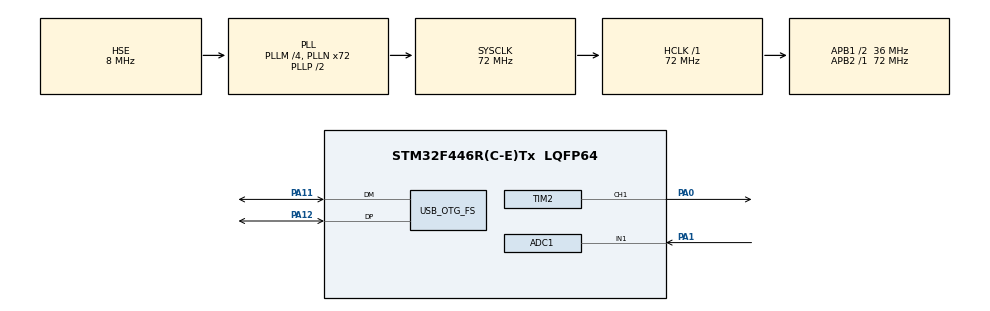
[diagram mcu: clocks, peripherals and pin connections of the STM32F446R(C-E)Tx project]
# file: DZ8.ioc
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ADC1.Channel-4\#ChannelRegularConversion=ADC_CHANNEL_1
ADC1.ExternalTrigConv=ADC_EXTERNALTRIGCONV_T1_CC1
ADC1.ExternalTrigConvEdge=ADC_EXTERNALTRIGCONVEDGE_RISING
ADC1.InjNumberOfConversion=0
ADC1.NbrOfConversion=1
ADC1.NbrOfConversionFlag=1
ADC1.Rank-4\#ChannelRegularConversion=1
ADC1.SamplingTime-4\#ChannelRegularConversion=ADC_SAMPLETIME_84CYCLES
ADC1.master=1
FATFS._USE_FASTSEEK=0
Mcu.Family=STM32F4
Mcu.Name=STM32F446R(C-E)Tx
Mcu.Package=LQFP64
NVIC.ADC_IRQn=true\:0\:0\:false\:false\:true\:true\:true\:true
NVIC.OTG_FS_IRQn=true\:0\:0\:false\:false\:true\:false\:true\:true
NVIC.PriorityGroup=NVIC_PRIORITYGROUP_4
NVIC.TIM2_IRQn=true\:0\:0\:false\:false\:true\:true\:true\:true
PA0-WKUP.Signal=S_TIM2_CH1_ETR
PA1.Signal=ADCx_IN1
PA11.Mode=Device_Only
PA11.Signal=USB_OTG_FS_DM
PA12.Mode=Device_Only
PA12.Signal=USB_OTG_FS_DP
PA13.Mode=Serial_Wire
PA13.Signal=SYS_JTMS-SWDIO
PA14.Mode=Serial_Wire
PA14.Signal=SYS_JTCK-SWCLK
PH0-OSC_IN.Mode=HSE-External-Clock-Source
PH0-OSC_IN.Signal=RCC_OSC_IN
PH1-OSC_OUT.Mode=HSE-External-Clock-Source
PH1-OSC_OUT.Signal=RCC_OSC_OUT
ProjectManager.HeapSize=0x200
ProjectManager.StackSize=0x400
ProjectManager.TargetToolchain=STM32CubeIDE
RCC.AHBFreq_Value=72000000
RCC.APB1CLKDivider=RCC_HCLK_DIV2
RCC.APB1Freq_Value=36000000
RCC.APB1TimFreq_Value=72000000
RCC.APB2Freq_Value=72000000
RCC.APB2TimFreq_Value=72000000
RCC.CortexFreq_Value=72000000
RCC.HCLKFreq_Value=72000000
RCC.HSE_VALUE=8000000
RCC.PLLM=4
RCC.PLLN=72
RCC.PLLQ=3
RCC.PLLR=4
RCC.SYSCLKFreq_VALUE=72000000
RCC.SYSCLKSource=RCC_SYSCLKSOURCE_PLLCLK
RCC.USBFreq_Value=48000000
RCC.VCOOutputFreq_Value=144000000
SH.ADCx_IN1.0=ADC1_IN1,IN1
SH.S_TIM2_CH1_ETR.0=TIM2_CH1,PWM Generation1 CH1
TIM1.AutoReloadPreload=TIM_AUTORELOAD_PRELOAD_DISABLE
TIM1.Channel-Output\ Compare1\ No\ Output=TIM_CHANNEL_1
TIM1.OCMode_1=TIM_OCMODE_TOGGLE
TIM1.Period=999
TIM1.Prescaler=7199
TIM1.Pulse-Output\ Compare1\ No\ Output=99
TIM2.Channel-PWM\ Generation1\ CH1=TIM_CHANNEL_1
TIM2.Period=720
TIM2.Prescaler=100
TIM2.Pulse-PWM\ Generation1\ CH1=360
USB_DEVICE.CLASS_NAME_FS=MSC
USB_DEVICE.MANUFACTURER_STRING-MSC_FS=Nikita Labs
USB_DEVICE.PID_MSC_FS=228
USB_DEVICE.PRODUCT_STRING_MSC_FS=LED on-off MSC
USB_DEVICE.VID-MSC_FS=1488
USB_DEVICE.VirtualMode-MSC_FS=Msc
USB_DEVICE.VirtualModeFS=Msc_FS
USB_OTG_FS.VirtualMode=Device_Only
VP_FATFS_VS_Generic.Mode=User_defined
VP_TIM1_VS_ClockSourceINT.Mode=Internal
VP_TIM1_VS_no_output1.Mode=Output Compare1 No Output
VP_USB_DEVICE_VS_USB_DEVICE_MSC_FS.Mode=MSC_FS
board=custom

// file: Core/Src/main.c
/* USER CODE BEGIN Header */
/**
  ******************************************************************************
  * @file           : main.c
  * @brief          : Main program body
  ******************************************************************************
  * @attention
  *
  * Copyright (c) 2026 STMicroelectronics.
  * All rights reserved.
  *
  * This software is licensed under terms that can be found in the LICENSE file
  * in the root directory of this software component.
  * If no LICENSE file comes with this software, it is provided AS-IS.
  *
  ******************************************************************************
  */
/* USER CODE END Header */
#include "main.h"
#include "fatfs.h"
#include "usb_device.h"

ADC_HandleTypeDef hadc1;

TIM_HandleTypeDef htim1;
TIM_HandleTypeDef htim2;

/* USER CODE BEGIN PV */
uint8_t ramdrive[BLOCKS][SSIZE];

FILINFO fileInfo;
FRESULT fr;

uint8_t CountOfConv = 0;
uint16_t val = 0;
float volts = 0;
uint8_t flagWrite = 0;
char str[64];
uint16_t lastTimeStamp = 65535;
uint16_t timeStamp = 0;
/* USER CODE END PV */

void SystemClock_Config(void);
static void MX_GPIO_Init(void);
static void MX_TIM2_Init(void);
static void MX_ADC1_Init(void);
static void MX_TIM1_Init(void);

int main(void)
{

  /* MCU Configuration--------------------------------------------------------*/

  /* Reset of all peripherals, Initializes the Flash interface and the Systick. */
  HAL_Init();

  /* Configure the system clock */
  SystemClock_Config();

  /* Initialize all configured peripherals */
  MX_GPIO_Init();

  MX_FATFS_Init();
  MX_TIM2_Init();
  MX_ADC1_Init();
  MX_TIM1_Init();
  /* USER CODE BEGIN 2 */
  uint8_t RD_R = ramdrive_init();
  if (!RD_R)
	  Error_Handler();

  fr = f_mount(&USERFatFS, USERPath, 1);
  if (fr != FR_OK)
	  Error_Handler();

  FIL myFile;
  if (fr == FR_OK)
	  f_open(&myFile, "result.csv", FA_CREATE_ALWAYS | FA_WRITE);
  else
	  Error_Handler();

  HAL_TIM_PWM_Start(&htim2, TIM_CHANNEL_1);
  HAL_TIM_OC_Start(&htim1, TIM_CHANNEL_1);
  HAL_ADC_Start_IT(&hadc1);

  /* USER CODE END 2 */

  /* Infinite loop */
  /* USER CODE BEGIN WHILE */
  while (1)
  {
	  if (flagWrite)
	  {
		  if (CountOfConv > 100)
		  {
			  HAL_ADC_Stop_IT(&hadc1);
			  flagWrite = 0;
			  f_close(&myFile);
			  fr = f_mount(NULL, USERPath, 1);
			  if (fr != FR_OK)
				  Error_Handler();

			  MX_USB_DEVICE_Init();
		  }
		  else
		  {
			  volts = (float) val * 3.30f / 4096.00f;
			  snprintf(str, sizeof(str), "%u; %.2f; %u; %u\n", CountOfConv, volts, timeStamp, lastTimeStamp-timeStamp);
			  f_printf(&myFile, str);
			  lastTimeStamp = timeStamp;
			  flagWrite = 0;
		  }
	  }
    /* USER CODE END WHILE */

  }
}

void SystemClock_Config(void)
{
  RCC_OscInitTypeDef RCC_OscInitStruct = {0};
  RCC_ClkInitTypeDef RCC_ClkInitStruct = {0};

  /** Configure the main internal regulator output voltage
  */
  __HAL_RCC_PWR_CLK_ENABLE();
  __HAL_PWR_VOLTAGESCALING_CONFIG(PWR_REGULATOR_VOLTAGE_SCALE3);

  /** Initializes the RCC Oscillators according to the specified parameters
  * in the RCC_OscInitTypeDef structure.
  */
  RCC_OscInitStruct.OscillatorType = RCC_OSCILLATORTYPE_HSE;
  RCC_OscInitStruct.HSEState = RCC_HSE_BYPASS;
  RCC_OscInitStruct.PLL.PLLState = RCC_PLL_ON;
  RCC_OscInitStruct.PLL.PLLSource = RCC_PLLSOURCE_HSE;
  RCC_OscInitStruct.PLL.PLLM = 4;
  RCC_OscInitStruct.PLL.PLLN = 72;
  RCC_OscInitStruct.PLL.PLLP = RCC_PLLP_DIV2;
  RCC_OscInitStruct.PLL.PLLQ = 3;
  RCC_OscInitStruct.PLL.PLLR = 4;
  if (HAL_RCC_OscConfig(&RCC_OscInitStruct) != HAL_OK)
  {
    Error_Handler();
  }

  /** Initializes the CPU, AHB and APB buses clocks
  */
  RCC_ClkInitStruct.ClockType = RCC_CLOCKTYPE_HCLK|RCC_CLOCKTYPE_SYSCLK
                              |RCC_CLOCKTYPE_PCLK1|RCC_CLOCKTYPE_PCLK2;
  RCC_ClkInitStruct.SYSCLKSource = RCC_SYSCLKSOURCE_PLLCLK;
  RCC_ClkInitStruct.AHBCLKDivider = RCC_SYSCLK_DIV1;
  RCC_ClkInitStruct.APB1CLKDivider = RCC_HCLK_DIV2;
  RCC_ClkInitStruct.APB2CLKDivider = RCC_HCLK_DIV1;

  if (HAL_RCC_ClockConfig(&RCC_ClkInitStruct, FLASH_LATENCY_2) != HAL_OK)
  {
    Error_Handler();
  }
}

static void MX_ADC1_Init(void)
{

  ADC_ChannelConfTypeDef sConfig = {0};

  /** Configure the global features of the ADC (Clock, Resolution, Data Alignment and number of conversion)
  */
  hadc1.Instance = ADC1;
  hadc1.Init.ClockPrescaler = ADC_CLOCK_SYNC_PCLK_DIV2;
  hadc1.Init.Resolution = ADC_RESOLUTION_12B;
  hadc1.Init.ScanConvMode = DISABLE;
  hadc1.Init.ContinuousConvMode = DISABLE;
  hadc1.Init.DiscontinuousConvMode = DISABLE;
  hadc1.Init.ExternalTrigConvEdge = ADC_EXTERNALTRIGCONVEDGE_RISING;
  hadc1.Init.ExternalTrigConv = ADC_EXTERNALTRIGCONV_T1_CC1;
  hadc1.Init.DataAlign = ADC_DATAALIGN_RIGHT;
  hadc1.Init.NbrOfConversion = 1;
  hadc1.Init.DMAContinuousRequests = DISABLE;
  hadc1.Init.EOCSelection = ADC_EOC_SINGLE_CONV;
  if (HAL_ADC_Init(&hadc1) != HAL_OK)
  {
    Error_Handler();
  }

  /** Configure for the selected ADC regular channel its corresponding rank in the sequencer and its sample time.
  */
  sConfig.Channel = ADC_CHANNEL_1;
  sConfig.Rank = 1;
  sConfig.SamplingTime = ADC_SAMPLETIME_84CYCLES;
  if (HAL_ADC_ConfigChannel(&hadc1, &sConfig) != HAL_OK)
  {
    Error_Handler();
  }

}

static void MX_TIM1_Init(void)
{

  TIM_ClockConfigTypeDef sClockSourceConfig = {0};
  TIM_MasterConfigTypeDef sMasterConfig = {0};
  TIM_OC_InitTypeDef sConfigOC = {0};
  TIM_BreakDeadTimeConfigTypeDef sBreakDeadTimeConfig = {0};

  htim1.Instance = TIM1;
  htim1.Init.Prescaler = 7199;
  htim1.Init.CounterMode = TIM_COUNTERMODE_UP;
  htim1.Init.Period = 999;
  htim1.Init.ClockDivision = TIM_CLOCKDIVISION_DIV1;
  htim1.Init.RepetitionCounter = 0;
  htim1.Init.AutoReloadPreload = TIM_AUTORELOAD_PRELOAD_DISABLE;
  if (HAL_TIM_Base_Init(&htim1) != HAL_OK)
  {
    Error_Handler();
  }
  sClockSourceConfig.ClockSource = TIM_CLOCKSOURCE_INTERNAL;
  if (HAL_TIM_ConfigClockSource(&htim1, &sClockSourceConfig) != HAL_OK)
  {
    Error_Handler();
  }
  if (HAL_TIM_OC_Init(&htim1) != HAL_OK)
  {
    Error_Handler();
  }
  sMasterConfig.MasterOutputTrigger = TIM_TRGO_RESET;
  sMasterConfig.MasterSlaveMode = TIM_MASTERSLAVEMODE_DISABLE;
  if (HAL_TIMEx_MasterConfigSynchronization(&htim1, &sMasterConfig) != HAL_OK)
  {
    Error_Handler();
  }
  sConfigOC.OCMode = TIM_OCMODE_TOGGLE;
  sConfigOC.Pulse = 999;
  sConfigOC.OCPolarity = TIM_OCPOLARITY_HIGH;
  sConfigOC.OCNPolarity = TIM_OCNPOLARITY_HIGH;
  sConfigOC.OCFastMode = TIM_OCFAST_DISABLE;
  sConfigOC.OCIdleState = TIM_OCIDLESTATE_RESET;
  sConfigOC.OCNIdleState = TIM_OCNIDLESTATE_RESET;
  if (HAL_TIM_OC_ConfigChannel(&htim1, &sConfigOC, TIM_CHANNEL_1) != HAL_OK)
  {
    Error_Handler();
  }
  sBreakDeadTimeConfig.OffStateRunMode = TIM_OSSR_DISABLE;
  sBreakDeadTimeConfig.OffStateIDLEMode = TIM_OSSI_DISABLE;
  sBreakDeadTimeConfig.LockLevel = TIM_LOCKLEVEL_OFF;
  sBreakDeadTimeConfig.DeadTime = 0;
  sBreakDeadTimeConfig.BreakState = TIM_BREAK_DISABLE;
  sBreakDeadTimeConfig.BreakPolarity = TIM_BREAKPOLARITY_HIGH;
  sBreakDeadTimeConfig.AutomaticOutput = TIM_AUTOMATICOUTPUT_DISABLE;
  if (HAL_TIMEx_ConfigBreakDeadTime(&htim1, &sBreakDeadTimeConfig) != HAL_OK)
  {
    Error_Handler();
  }

}

static void MX_TIM2_Init(void)
{

  TIM_MasterConfigTypeDef sMasterConfig = {0};
  TIM_OC_InitTypeDef sConfigOC = {0};

  htim2.Instance = TIM2;
  htim2.Init.Prescaler = 100;
  htim2.Init.CounterMode = TIM_COUNTERMODE_UP;
  htim2.Init.Period = 720;
  htim2.Init.ClockDivision = TIM_CLOCKDIVISION_DIV1;
  htim2.Init.AutoReloadPreload = TIM_AUTORELOAD_PRELOAD_DISABLE;
  if (HAL_TIM_PWM_Init(&htim2) != HAL_OK)
  {
    Error_Handler();
  }
  sMasterConfig.MasterOutputTrigger = TIM_TRGO_RESET;
  sMasterConfig.MasterSlaveMode = TIM_MASTERSLAVEMODE_DISABLE;
  if (HAL_TIMEx_MasterConfigSynchronization(&htim2, &sMasterConfig) != HAL_OK)
  {
    Error_Handler();
  }
  sConfigOC.OCMode = TIM_OCMODE_PWM1;
  sConfigOC.Pulse = 360;
  sConfigOC.OCPolarity = TIM_OCPOLARITY_HIGH;
  sConfigOC.OCFastMode = TIM_OCFAST_DISABLE;
  if (HAL_TIM_PWM_ConfigChannel(&htim2, &sConfigOC, TIM_CHANNEL_1) != HAL_OK)
  {
    Error_Handler();
  }
  HAL_TIM_MspPostInit(&htim2);

}

static void MX_GPIO_Init(void)
{

  /* GPIO Ports Clock Enable */
  __HAL_RCC_GPIOH_CLK_ENABLE();
  __HAL_RCC_GPIOA_CLK_ENABLE();

}

/* USER CODE BEGIN 4 */
void HAL_ADC_ConvCpltCallback(ADC_HandleTypeDef *hadc)
{
	if (hadc->Instance == ADC1)
	{
		val = HAL_ADC_GetValue(hadc);
		CountOfConv++;
		flagWrite = 1;
		timeStamp = htim1.Instance->CNT;
	}
}
/* USER CODE END 4 */

void Error_Handler(void)
{
  __disable_irq();
  while (1)
  {
  }
}
